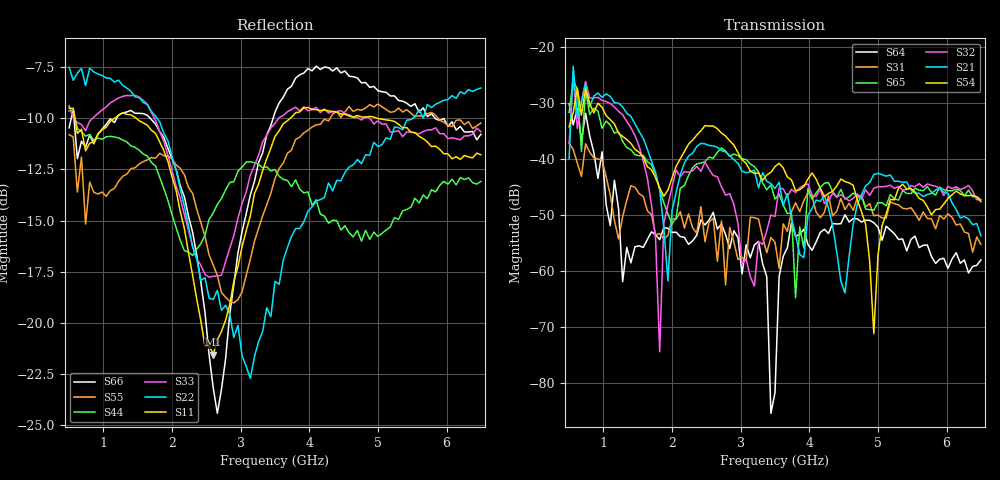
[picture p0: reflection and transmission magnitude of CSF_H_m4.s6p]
!Keysight Technologies,M9804A,MY58100912,A.14.10.03
!Date: Thursday, April 27, 2023 10:28:33
!Correction: S11(C  6-Port  )
!S12(C  6-Port  )
!S13(C  6-Port  )
!S14(C  6-Port  )
!S15(C  6-Port  )
!S16(C  6-Port  )
!S21(C  6-Port  )
!S22(C  6-Port  )
!S23(C  6-Port  )
!S24(C  6-Port  )
!S25(C  6-Port  )
!S26(C  6-Port  )
!S31(C  6-Port  )
!S32(C  6-Port  )
!S33(C  6-Port  )
!S34(C  6-Port  )
!S35(C  6-Port  )
!S36(C  6-Port  )
!S41(C  6-Port  )
!S42(C  6-Port  )
!S43(C  6-Port  )
!S44(C  6-Port  )
!S45(C  6-Port  )
!S46(C  6-Port  )
!S51(C  6-Port  )
!S52(C  6-Port  )
!S53(C  6-Port  )
!S54(C  6-Port  )
!S55(C  6-Port  )
!S56(C  6-Port  )
!S61(C  6-Port  )
!S62(C  6-Port  )
!S63(C  6-Port  )
!S64(C  6-Port  )
!S65(C  6-Port  )
!S66(C  6-Port  )
!S6P File: Measurement: :
# Hz S  RI  R 50
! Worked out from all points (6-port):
!   101 points, 500 MHz to 6.5 GHz, reference 50 ohm
!   strongest paths, dB at 500 MHz, 2 GHz, 3.5 GHz, 5 GHz, 6.5 GHz:
!     S54: -34.3, -43.4, -41.4, -57.2, -47.7
!     S21: -40.0, -49.2, -45.3, -42.6, -53.7
!     S32: -37.3, -45.0, -50.3, -45.0, -47.3
!     S65: -31.7, -51.6, -47.2, -47.8, -47.3
!     S31: -37.2, -50.7, -54.9, -50.0, -55.3
!     S64: -30.2, -53.1, -81.8, -52.2, -58.1
!   lowest |S11| = -21.5 dB at 2.6 GHz (marker M1), VSWR 1.18, Z = 42.5 + j1.94 ohm
!   |S11| at or under -10 dB: 583.8 MHz to 1.161 GHz (577.6 MHz wide, 66.2 % of centre); 1.479 GHz to 3.721 GHz (2.242 GHz wide, 86.3 % of centre); 4.989 GHz to end of sweep
